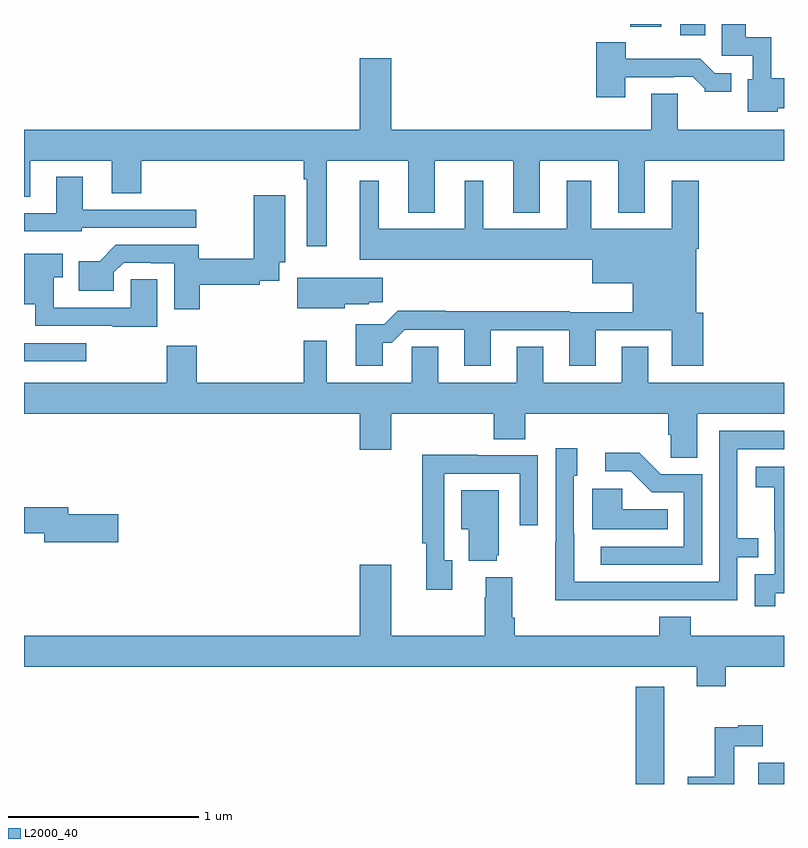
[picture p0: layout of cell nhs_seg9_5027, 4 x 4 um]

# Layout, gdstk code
import gdstk
lib = gdstk.Library(unit=1e-6, precision=1e-09)
def R(c, l, rs):  # rectangles x0, y0, x1, y1
    for r in rs: c.add(gdstk.rectangle(r[:2], r[2:], *l))
def P(c, l, *ps):  # polygons
    for p in ps: c.add(gdstk.Polygon(p, *l))
L2000_40 = (2000, 40)

nhs_seg9_5027 = lib.new_cell('nhs_seg9_5027')
R(nhs_seg9_5027, L2000_40, [(406.22,1166.5,406.369,1167.013), (406.865,1166.5,407,1166.611), (403,1168.725,403.327,1168.821), (406.454,1170.441,406.585,1170.5), (406.192,1170.485,406.354,1170.5)])
P(nhs_seg9_5027, L2000_40, [(406.968,1170.056),(407,1170.056),(407,1170.214),(406.932,1170.214),(406.932,1170.43),(406.798,1170.43),(406.798,1170.5),(406.673,1170.5),(406.673,1170.333),(406.836,1170.333),(406.836,1170.21),(406.808,1170.21),(406.808,1170.038),(406.968,1170.038)],
  [(406.165,1170.219),(406.421,1170.219),(406.421,1170.222),(406.52,1170.222),(406.584,1170.158),(406.584,1170.143),(406.723,1170.143),(406.723,1170.24),(406.635,1170.24),(406.559,1170.316),(406.168,1170.316),(406.168,1170.403),(406.013,1170.403),(406.013,1170.114),(406.165,1170.114)],
  [(404.593,1169.78),(405.023,1169.78),(405.023,1169.507),(405.163,1169.507),(405.163,1169.78),(405.575,1169.78),(405.575,1169.507),(405.715,1169.507),(405.715,1169.78),(406.127,1169.78),(406.127,1169.507),(406.267,1169.507),(406.267,1169.78),(407,1169.78),(407,1169.944),(406.441,1169.944),(406.441,1170.134),(406.301,1170.134),(406.301,1169.944),(404.932,1169.944),(404.932,1170.319),(404.768,1170.319),(404.768,1169.944),(403,1169.944),(403,1169.59),(403.033,1169.59),(403.033,1169.78),(403.463,1169.78),(403.463,1169.608),(403.616,1169.608),(403.616,1169.78),(404.472,1169.78),(404.472,1169.684),(404.489,1169.684),(404.489,1169.331),(404.593,1169.331)],
  [(403.305,1169.427),(403.906,1169.427),(403.906,1169.523),(403.309,1169.523),(403.309,1169.695),(403.169,1169.695),(403.169,1169.505),(403,1169.505),(403,1169.409),(403.305,1169.409)],
  [(404.887,1168.823),(404.936,1168.823),(405.003,1168.89),(405.317,1168.89),(405.317,1168.701),(405.457,1168.701),(405.457,1168.887),(405.869,1168.887),(405.869,1168.701),(406.009,1168.701),(406.009,1168.887),(406.409,1168.887),(406.409,1168.701),(406.574,1168.701),(406.574,1168.98),(406.537,1168.98),(406.537,1169.318),(406.55,1169.318),(406.55,1169.674),(406.409,1169.674),(406.409,1169.422),(405.985,1169.422),(405.985,1169.674),(405.857,1169.674),(405.857,1169.422),(405.418,1169.422),(405.418,1169.674),(405.32,1169.674),(405.32,1169.422),(404.866,1169.422),(404.866,1169.674),(404.768,1169.674),(404.768,1169.258),(405.992,1169.258),(405.992,1169.135),(406.205,1169.135),(406.205,1168.984),(405.873,1168.984),(405.873,1168.988),(405.221,1168.988),(405.221,1168.991),(404.966,1168.991),(404.895,1168.92),(404.747,1168.92),(404.747,1168.701),(404.887,1168.701)],
  [(403.925,1169.128),(404.24,1169.128),(404.24,1169.148),(404.344,1169.148),(404.344,1169.246),(404.374,1169.246),(404.374,1169.599),(404.209,1169.599),(404.209,1169.264),(403.92,1169.264),(403.92,1169.337),(403.484,1169.337),(403.398,1169.251),(403.288,1169.251),(403.288,1169.096),(403.473,1169.096),(403.473,1169.193),(403.524,1169.244),(403.666,1169.244),(403.666,1169.241),(403.79,1169.241),(403.79,1168.998),(403.925,1168.998)],
  [(403.702,1169.156),(403.563,1169.156),(403.563,1169.007),(403.156,1169.007),(403.156,1169.168),(403.203,1169.168),(403.203,1169.29),(403,1169.29),(403,1169.024),(403.059,1169.024),(403.059,1168.911),(403.466,1168.911),(403.466,1168.906),(403.702,1168.906)],
  [(404.688,1169.024),(404.814,1169.024),(404.814,1169.035),(404.887,1169.035),(404.887,1169.164),(404.438,1169.164),(404.438,1169.003),(404.688,1169.003)],
  [(404.768,1168.26),(404.932,1168.26),(404.932,1168.448),(405.473,1168.448),(405.473,1168.315),(405.638,1168.315),(405.638,1168.448),(406.391,1168.448),(406.391,1168.339),(406.404,1168.339),(406.404,1168.216),(406.543,1168.216),(406.543,1168.448),(407,1168.448),(407,1168.612),(406.285,1168.612),(406.285,1168.802),(406.145,1168.802),(406.145,1168.612),(405.733,1168.612),(405.733,1168.802),(405.593,1168.802),(405.593,1168.612),(405.181,1168.612),(405.181,1168.802),(405.042,1168.802),(405.042,1168.612),(404.593,1168.612),(404.593,1168.834),(404.472,1168.834),(404.472,1168.612),(403.91,1168.612),(403.91,1168.807),(403.75,1168.807),(403.75,1168.612),(403,1168.612),(403,1168.448),(404.768,1168.448)],
  [(406.259,1167.468),(406.755,1167.468),(406.755,1167.693),(406.865,1167.693),(406.865,1167.794),(406.755,1167.794),(406.755,1168.263),(407,1168.263),(407,1168.359),(406.659,1168.359),(406.659,1167.564),(405.895,1167.564),(405.895,1167.818),(405.894,1167.818),(405.894,1168.122),(405.913,1168.122),(405.913,1168.267),(405.798,1168.267),(405.798,1167.773),(405.796,1167.773),(405.796,1167.467),(406.259,1167.467)],
  [(406.569,1168.131),(406.35,1168.131),(406.237,1168.244),(406.059,1168.244),(406.059,1168.146),(406.193,1168.146),(406.304,1168.035),(406.473,1168.035),(406.473,1167.75),(406.035,1167.75),(406.035,1167.654),(406.569,1167.654)],
  [(405.253,1167.678),(405.213,1167.678),(405.213,1168.134),(405.609,1168.134),(405.609,1167.861),(405.705,1167.861),(405.705,1168.23),(405.389,1168.23),(405.389,1168.232),(405.097,1168.232),(405.097,1167.766),(405.116,1167.766),(405.116,1167.522),(405.253,1167.522)],
  [(406.954,1167.505),(407,1167.505),(407,1168.171),(406.851,1168.171),(406.851,1168.061),(406.949,1168.061),(406.949,1167.833),(406.95,1167.833),(406.95,1167.603),(406.845,1167.603),(406.845,1167.435),(406.954,1167.435)],
  [(406.388,1167.946),(406.149,1167.946),(406.149,1168.054),(405.992,1168.054),(405.992,1167.842),(406.388,1167.842)],
  [(405.488,1167.705),(405.499,1167.705),(405.499,1168.045),(405.302,1168.045),(405.302,1167.842),(405.341,1167.842),(405.341,1167.674),(405.488,1167.674)],
  [(403.495,1167.92),(403.234,1167.92),(403.234,1167.956),(403,1167.956),(403,1167.82),(403.106,1167.82),(403.106,1167.773),(403.495,1167.773)],
  [(406.694,1167.116),(407,1167.116),(407,1167.28),(406.508,1167.28),(406.508,1167.379),(406.343,1167.379),(406.343,1167.28),(405.584,1167.28),(405.584,1167.376),(405.571,1167.376),(405.571,1167.589),(405.431,1167.589),(405.431,1167.482),(405.424,1167.482),(405.424,1167.28),(404.932,1167.28),(404.932,1167.655),(404.768,1167.655),(404.768,1167.28),(403,1167.28),(403,1167.116),(406.541,1167.116),(406.541,1167.014),(406.694,1167.014)],
  [(406.737,1166.7),(406.888,1166.7),(406.888,1166.809),(406.76,1166.809),(406.76,1166.798),(406.636,1166.798),(406.636,1166.538),(406.494,1166.538),(406.494,1166.5),(406.737,1166.5)])

lib.write_gds('nhs_seg9_5027.gds')
